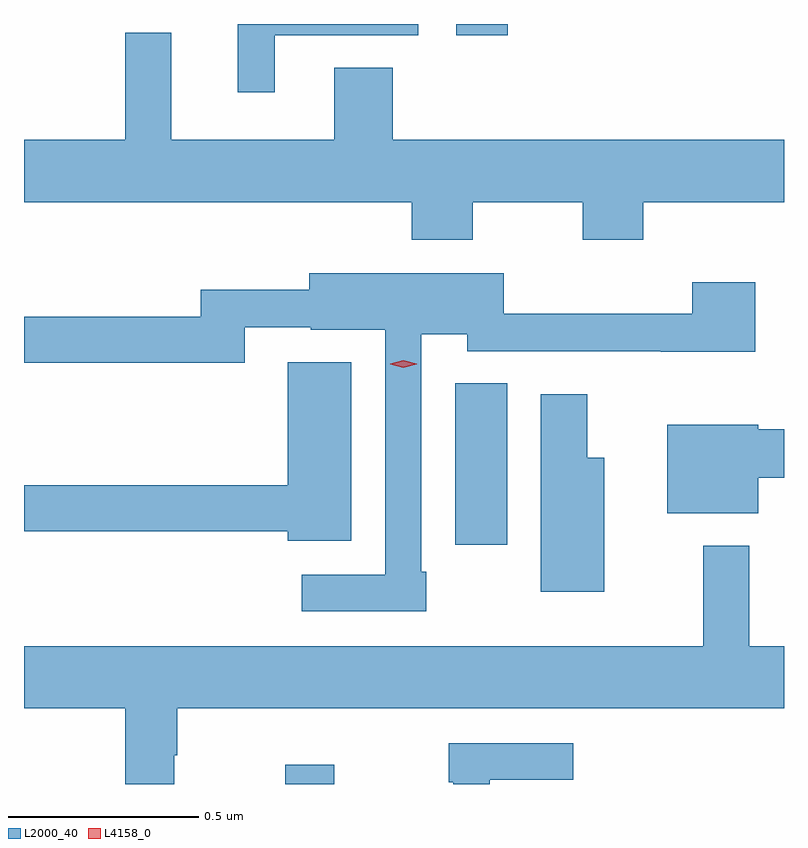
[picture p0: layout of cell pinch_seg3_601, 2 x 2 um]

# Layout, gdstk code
import gdstk
lib = gdstk.Library(unit=1e-6, precision=1e-09)
def R(c, l, rs):  # rectangles x0, y0, x1, y1
    for r in rs: c.add(gdstk.rectangle(r[:2], r[2:], *l))
def P(c, l, *ps):  # polygons
    for p in ps: c.add(gdstk.Polygon(p, *l))
L2000_40 = (2000, 40)
L4158_0 = (4158, 0)

pinch_seg3_601 = lib.new_cell('pinch_seg3_601')
R(pinch_seg3_601, L2000_40, [(1067.785,706.045,1067.914,706.096), (1068.233,706.674,1068.37,707.099), (1068.236,708.015,1068.371,708.045)])
P(pinch_seg3_601, L2000_40, [(1067.758,708.015),(1068.136,708.015),(1068.136,708.045),(1067.66,708.045),(1067.66,707.865),(1067.758,707.865)],
  [(1068.279,707.576),(1068.568,707.576),(1068.568,707.477),(1068.728,707.477),(1068.728,707.576),(1069.098,707.576),(1069.098,707.74),(1068.068,707.74),(1068.068,707.93),(1067.915,707.93),(1067.915,707.74),(1067.485,707.74),(1067.485,708.022),(1067.364,708.022),(1067.364,707.74),(1067.098,707.74),(1067.098,707.576),(1068.119,707.576),(1068.119,707.477),(1068.279,707.477)],
  [(1068.157,706.603),(1068.144,706.603),(1068.144,707.228),(1068.264,707.228),(1068.264,707.184),(1068.773,707.184),(1068.773,707.183),(1069.022,707.183),(1069.022,707.365),(1068.857,707.365),(1068.857,707.282),(1068.36,707.282),(1068.36,707.389),(1067.849,707.389),(1067.849,707.346),(1067.563,707.346),(1067.563,707.275),(1067.098,707.275),(1067.098,707.154),(1067.679,707.154),(1067.679,707.247),(1067.853,707.247),(1067.853,707.24),(1068.048,707.24),(1068.048,706.596),(1067.829,706.596),(1067.829,706.5),(1068.157,706.5)],
  [(1067.959,707.155),(1067.792,707.155),(1067.792,706.831),(1067.098,706.831),(1067.098,706.71),(1067.792,706.71),(1067.792,706.685),(1067.959,706.685)],
  [(1068.625,706.903),(1068.58,706.903),(1068.58,707.071),(1068.458,707.071),(1068.458,706.551),(1068.625,706.551)],
  [(1069.03,706.851),(1069.098,706.851),(1069.098,706.979),(1069.03,706.979),(1069.03,706.99),(1068.791,706.99),(1068.791,706.757),(1069.03,706.757)],
  [(1067.494,706.121),(1067.501,706.121),(1067.501,706.244),(1069.098,706.244),(1069.098,706.408),(1069.007,706.408),(1069.007,706.672),(1068.886,706.672),(1068.886,706.408),(1067.098,706.408),(1067.098,706.244),(1067.365,706.244),(1067.365,706.045),(1067.494,706.045)],
  [(1068.324,706.056),(1068.544,706.056),(1068.544,706.152),(1068.216,706.152),(1068.216,706.049),(1068.228,706.049),(1068.228,706.045),(1068.324,706.045)])
P(pinch_seg3_601, L4158_0, [(1068.096,707.14),(1068.062,707.15),(1068.062,707.15),(1068.062,707.151),(1068.096,707.16),(1068.131,707.151),(1068.131,707.15),(1068.131,707.15)])

lib.write_gds('pinch_seg3_601.gds')
